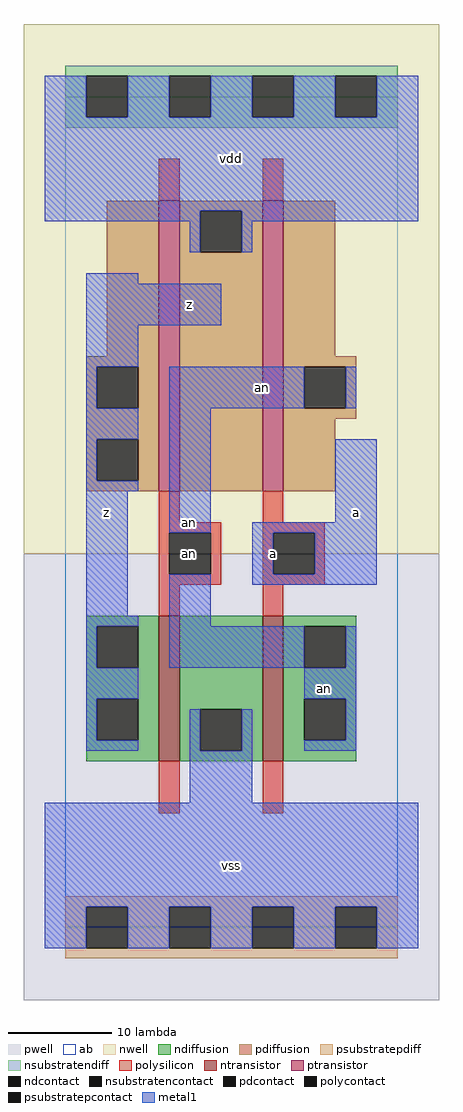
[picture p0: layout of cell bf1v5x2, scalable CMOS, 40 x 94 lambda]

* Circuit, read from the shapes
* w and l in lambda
.subckt bf1v5x2 a an vdd vss z
M1 vss an z vss nfet w=14 l=2
M2 an a vss vss nfet w=14 l=2
M3 vdd an z vdd pfet w=28 l=2
M4 an a vdd vdd pfet w=28 l=2
.ends

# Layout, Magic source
magic
tech scmos
<< ab >>
rect 0 0 32 80
<< pwell >>
rect -4 -7 36 36
<< nwell >>
rect -4 36 36 87
<< polysilicon >>
rect 9 70 11 74
rect 19 70 21 74
rect 9 39 11 42
rect 19 39 21 42
rect 9 38 15 39
rect 9 34 10 38
rect 14 34 15 38
rect 9 33 15 34
rect 19 38 25 39
rect 19 34 20 38
rect 24 34 25 38
rect 19 33 25 34
rect 9 30 11 33
rect 19 30 21 33
rect 9 11 11 16
rect 19 11 21 16
<< ndiffusion >>
rect 2 29 9 30
rect 2 25 3 29
rect 7 25 9 29
rect 2 22 9 25
rect 2 18 3 22
rect 7 18 9 22
rect 2 16 9 18
rect 11 21 19 30
rect 11 17 13 21
rect 17 17 19 21
rect 11 16 19 17
rect 21 29 28 30
rect 21 25 23 29
rect 27 25 28 29
rect 21 22 28 25
rect 21 18 23 22
rect 27 18 28 22
rect 21 16 28 18
<< pdiffusion >>
rect 4 55 9 70
rect 2 54 9 55
rect 2 50 3 54
rect 7 50 9 54
rect 2 47 9 50
rect 2 43 3 47
rect 7 43 9 47
rect 2 42 9 43
rect 11 69 19 70
rect 11 65 13 69
rect 17 65 19 69
rect 11 42 19 65
rect 21 55 26 70
rect 21 54 28 55
rect 21 50 23 54
rect 27 50 28 54
rect 21 49 28 50
rect 21 42 26 49
<< metal1 >>
rect -2 78 2 82
rect 6 78 10 82
rect 14 78 18 82
rect 22 78 26 82
rect 30 78 34 82
rect -2 69 34 78
rect -2 68 13 69
rect 12 65 13 68
rect 17 68 34 69
rect 17 65 18 68
rect 2 62 7 63
rect 2 58 15 62
rect 2 54 7 58
rect 2 50 3 54
rect 2 47 7 50
rect 2 43 3 47
rect 2 42 7 43
rect 10 50 23 54
rect 27 50 28 54
rect 2 30 6 42
rect 10 38 14 50
rect 26 39 30 47
rect 2 29 7 30
rect 2 25 3 29
rect 10 29 14 34
rect 18 38 30 39
rect 18 34 20 38
rect 24 34 30 38
rect 18 33 30 34
rect 10 25 23 29
rect 27 25 28 29
rect 2 22 7 25
rect 2 18 3 22
rect 23 22 28 25
rect 2 17 7 18
rect 12 17 13 21
rect 17 17 18 21
rect 27 18 28 22
rect 23 17 28 18
rect 12 12 18 17
rect -2 2 34 12
rect -2 -2 2 2
rect 6 -2 10 2
rect 14 -2 18 2
rect 22 -2 26 2
rect 30 -2 34 2
<< ntransistor >>
rect 9 16 11 30
rect 19 16 21 30
<< ptransistor >>
rect 9 42 11 70
rect 19 42 21 70
<< polycontact >>
rect 10 34 14 38
rect 20 34 24 38
<< ndcontact >>
rect 3 25 7 29
rect 3 18 7 22
rect 13 17 17 21
rect 23 25 27 29
rect 23 18 27 22
<< pdcontact >>
rect 3 50 7 54
rect 3 43 7 47
rect 13 65 17 69
rect 23 50 27 54
<< psubstratepcontact >>
rect 2 -2 6 2
rect 10 -2 14 2
rect 18 -2 22 2
rect 26 -2 30 2
<< nsubstratencontact >>
rect 2 78 6 82
rect 10 78 14 82
rect 18 78 22 82
rect 26 78 30 82
<< psubstratepdiff >>
rect 0 2 32 3
rect 0 -2 2 2
rect 6 -2 10 2
rect 14 -2 18 2
rect 22 -2 26 2
rect 30 -2 32 2
rect 0 -3 32 -2
<< nsubstratendiff >>
rect 0 82 32 83
rect 0 78 2 82
rect 6 78 10 82
rect 14 78 18 82
rect 22 78 26 82
rect 30 78 32 82
rect 0 77 32 78
<< labels >>
rlabel polycontact 12 36 12 36 6 an
rlabel metal1 4 40 4 40 6 z
rlabel metal1 12 39 12 39 6 an
rlabel metal1 12 60 12 60 6 z
rlabel metal1 16 6 16 6 6 vss
rlabel metal1 20 36 20 36 6 a
rlabel metal1 16 74 16 74 6 vdd
rlabel metal1 25 23 25 23 6 an
rlabel metal1 28 40 28 40 6 a
rlabel metal1 19 52 19 52 6 an
<< end >>
